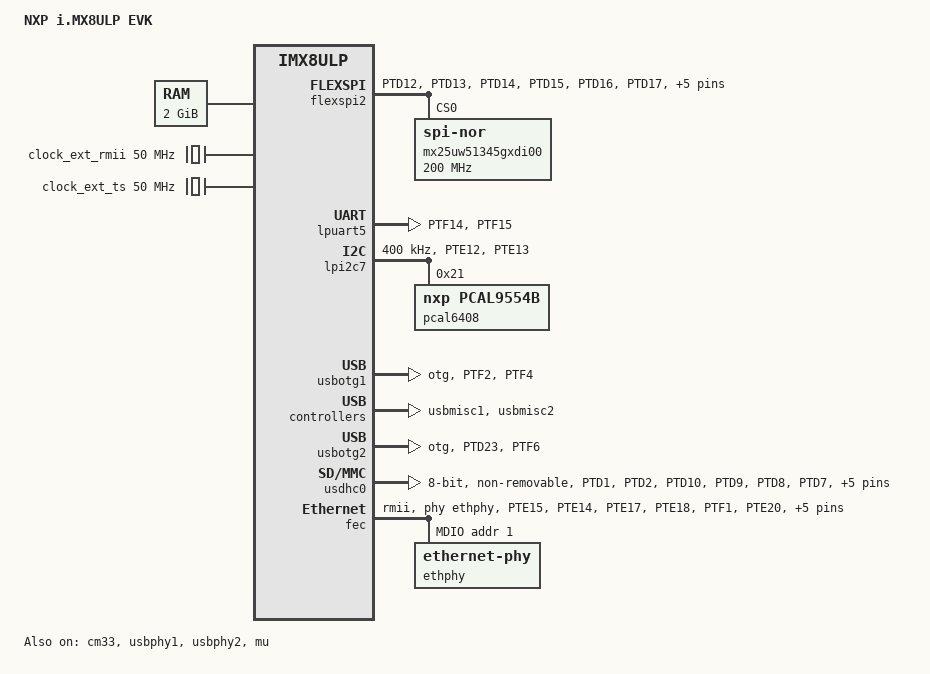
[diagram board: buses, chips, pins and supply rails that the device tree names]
// SPDX-License-Identifier: (GPL-2.0+ OR MIT)
/*
 * Copyright 2021 NXP
 */

/dts-v1/;

#include "imx8ulp.dtsi"

/ {
	model = "NXP i.MX8ULP EVK";
	compatible = "fsl,imx8ulp-evk", "fsl,imx8ulp";

	chosen {
		stdout-path = &lpuart5;
	};

	memory@80000000 {
		device_type = "memory";
		reg = <0x0 0x80000000 0 0x80000000>;
	};

	reserved-memory {
		#address-cells = <2>;
		#size-cells = <2>;
		ranges;

		linux,cma {
			compatible = "shared-dma-pool";
			reusable;
			size = <0 0x28000000>;
			linux,cma-default;
		};

		m33_reserved: noncacheable-section@a8600000 {
			reg = <0 0xa8600000 0 0x1000000>;
			no-map;
		};

		rsc_table: rsc-table@1fff8000 {
			reg = <0 0x1fff8000 0 0x1000>;
			no-map;
		};

		vdev0vring0: vdev0vring0@aff00000 {
			reg = <0 0xaff00000 0 0x8000>;
			no-map;
		};

		vdev0vring1: vdev0vring1@aff08000 {
			reg = <0 0xaff08000 0 0x8000>;
			no-map;
		};

		vdev1vring0: vdev1vring0@aff10000 {
			reg = <0 0xaff10000 0 0x8000>;
			no-map;
		};

		vdev1vring1: vdev1vring1@aff18000 {
			reg = <0 0xaff18000 0 0x8000>;
			no-map;
		};

		vdevbuffer: vdevbuffer@a8400000 {
			compatible = "shared-dma-pool";
			reg = <0 0xa8400000 0 0x100000>;
			no-map;
		};
	};

	clock_ext_rmii: clock-ext-rmii {
		compatible = "fixed-clock";
		clock-frequency = <50000000>;
		clock-output-names = "ext_rmii_clk";
		#clock-cells = <0>;
	};

	clock_ext_ts: clock-ext-ts {
		compatible = "fixed-clock";
		/* External ts clock is 50MHZ from PHY on EVK board. */
		clock-frequency = <50000000>;
		clock-output-names = "ext_ts_clk";
		#clock-cells = <0>;
	};
};

&cm33 {
	mbox-names = "tx", "rx", "rxdb";
	mboxes = <&mu 0 1>,
		 <&mu 1 1>,
		 <&mu 3 1>;
	memory-region = <&vdevbuffer>, <&vdev0vring0>, <&vdev0vring1>,
			<&vdev1vring0>, <&vdev1vring1>, <&rsc_table>;
	status = "okay";
};

&flexspi2 {
	pinctrl-names = "default", "sleep";
	pinctrl-0 = <&pinctrl_flexspi2_ptd>;
	pinctrl-1 = <&pinctrl_flexspi2_ptd>;
	status = "okay";

	mx25uw51345gxdi00: flash@0 {
		compatible = "jedec,spi-nor";
		reg = <0>;
		spi-max-frequency = <200000000>;
		spi-tx-bus-width = <8>;
		spi-rx-bus-width = <8>;
	};
};

&lpuart5 {
	/* console */
	pinctrl-names = "default", "sleep";
	pinctrl-0 = <&pinctrl_lpuart5>;
	pinctrl-1 = <&pinctrl_lpuart5>;
	status = "okay";
};

&lpi2c7 {
	#address-cells = <1>;
	#size-cells = <0>;
	clock-frequency = <400000>;
	pinctrl-names = "default", "sleep";
	pinctrl-0 = <&pinctrl_lpi2c7>;
	pinctrl-1 = <&pinctrl_lpi2c7>;
	status = "okay";

	ptn5150_1: typec@1d {
		compatible = "nxp,ptn5150";
		reg = <0x1d>;
		int-gpios = <&gpiof 3 IRQ_TYPE_EDGE_FALLING>;
		pinctrl-names = "default";
		pinctrl-0 = <&pinctrl_typec1>;
		status = "disabled";
	};

	pcal6408: gpio@21 {
		compatible = "nxp,pcal9554b";
		reg = <0x21>;
		gpio-controller;
		#gpio-cells = <2>;
	};

	ptn5150_2: typec@3d {
		compatible = "nxp,ptn5150";
		reg = <0x3d>;
		int-gpios = <&gpiof 5 IRQ_TYPE_EDGE_FALLING>;
		pinctrl-names = "default";
		pinctrl-0 = <&pinctrl_typec2>;
		status = "disabled";
	};
};

&usbotg1 {
	pinctrl-names = "default";
	pinctrl-0 = <&pinctrl_usb1>;
	dr_mode = "otg";
	hnp-disable;
	srp-disable;
	adp-disable;
	over-current-active-low;
	status = "okay";
};

&usbphy1 {
	fsl,tx-d-cal = <110>;
	status = "okay";
};

&usbmisc1 {
	status = "okay";
};

&usbotg2 {
	pinctrl-names = "default";
	pinctrl-0 = <&pinctrl_usb2>;
	dr_mode = "otg";
	hnp-disable;
	srp-disable;
	adp-disable;
	over-current-active-low;
	status = "okay";
};

&usbphy2 {
	fsl,tx-d-cal = <110>;
	status = "okay";
};

&usbmisc2 {
	status = "okay";
};

&usdhc0 {
	pinctrl-names = "default", "state_100mhz", "state_200mhz", "sleep";
	pinctrl-0 = <&pinctrl_usdhc0>;
	pinctrl-1 = <&pinctrl_usdhc0>;
	pinctrl-2 = <&pinctrl_usdhc0>;
	pinctrl-3 = <&pinctrl_usdhc0>;
	non-removable;
	bus-width = <8>;
	status = "okay";
};

&fec {
	pinctrl-names = "default", "sleep";
	pinctrl-0 = <&pinctrl_enet>;
	pinctrl-1 = <&pinctrl_enet>;
	clocks = <&cgc1 IMX8ULP_CLK_XBAR_DIVBUS>,
		 <&pcc4 IMX8ULP_CLK_ENET>,
		 <&cgc1 IMX8ULP_CLK_ENET_TS_SEL>,
		 <&clock_ext_rmii>;
	clock-names = "ipg", "ahb", "ptp", "enet_clk_ref";
	assigned-clocks = <&cgc1 IMX8ULP_CLK_ENET_TS_SEL>;
	assigned-clock-parents = <&clock_ext_ts>;
	phy-mode = "rmii";
	phy-handle = <&ethphy>;
	status = "okay";

	mdio {
		#address-cells = <1>;
		#size-cells = <0>;

		ethphy: ethernet-phy@1 {
			reg = <1>;
			micrel,led-mode = <1>;
		};
	};
};

&mu {
	status = "okay";
};

&iomuxc1 {
	pinctrl_enet: enetgrp {
		fsl,pins = <
			MX8ULP_PAD_PTE15__ENET0_MDC     0x43
			MX8ULP_PAD_PTE14__ENET0_MDIO    0x43
			MX8ULP_PAD_PTE17__ENET0_RXER    0x43
			MX8ULP_PAD_PTE18__ENET0_CRS_DV  0x43
			MX8ULP_PAD_PTF1__ENET0_RXD0     0x43
			MX8ULP_PAD_PTE20__ENET0_RXD1    0x43
			MX8ULP_PAD_PTE16__ENET0_TXEN    0x43
			MX8ULP_PAD_PTE23__ENET0_TXD0    0x43
			MX8ULP_PAD_PTE22__ENET0_TXD1    0x43
			MX8ULP_PAD_PTE19__ENET0_REFCLK  0x43
			MX8ULP_PAD_PTF10__ENET0_1588_CLKIN 0x43
		>;
	};

	pinctrl_flexspi2_ptd: flexspi2ptdgrp {
		fsl,pins = <

			MX8ULP_PAD_PTD12__FLEXSPI2_A_SS0_B	0x42
			MX8ULP_PAD_PTD13__FLEXSPI2_A_SCLK	0x42
			MX8ULP_PAD_PTD14__FLEXSPI2_A_DATA3	0x42
			MX8ULP_PAD_PTD15__FLEXSPI2_A_DATA2	0x42
			MX8ULP_PAD_PTD16__FLEXSPI2_A_DATA1	0x42
			MX8ULP_PAD_PTD17__FLEXSPI2_A_DATA0	0x42
			MX8ULP_PAD_PTD18__FLEXSPI2_A_DQS	0x42
			MX8ULP_PAD_PTD19__FLEXSPI2_A_DATA7	0x42
			MX8ULP_PAD_PTD20__FLEXSPI2_A_DATA6	0x42
			MX8ULP_PAD_PTD21__FLEXSPI2_A_DATA5	0x42
			MX8ULP_PAD_PTD22__FLEXSPI2_A_DATA4	0x42
		>;
	};

	pinctrl_lpuart5: lpuart5grp {
		fsl,pins = <
			MX8ULP_PAD_PTF14__LPUART5_TX	0x3
			MX8ULP_PAD_PTF15__LPUART5_RX	0x3
		>;
	};

	pinctrl_lpi2c7: lpi2c7grp {
		fsl,pins = <
			MX8ULP_PAD_PTE12__LPI2C7_SCL	0x20
			MX8ULP_PAD_PTE13__LPI2C7_SDA	0x20
		>;
	};

	pinctrl_typec1: typec1grp {
		fsl,pins = <
			MX8ULP_PAD_PTF3__PTF3           0x3
		>;
	};

	pinctrl_typec2: typec2grp {
		fsl,pins = <
			MX8ULP_PAD_PTF5__PTF5           0x3
		>;
	};

	pinctrl_usb1: usb1grp {
		fsl,pins = <
			MX8ULP_PAD_PTF2__USB0_ID	0x10003
			MX8ULP_PAD_PTF4__USB0_OC	0x10003
		>;
	};

	pinctrl_usb2: usb2grp {
		fsl,pins = <
			MX8ULP_PAD_PTD23__USB1_ID	0x10003
			MX8ULP_PAD_PTF6__USB1_OC	0x10003
		>;
	};

	pinctrl_usdhc0: usdhc0grp {
		fsl,pins = <
			MX8ULP_PAD_PTD1__SDHC0_CMD	0x3
			MX8ULP_PAD_PTD2__SDHC0_CLK	0x10002
			MX8ULP_PAD_PTD10__SDHC0_D0	0x3
			MX8ULP_PAD_PTD9__SDHC0_D1	0x3
			MX8ULP_PAD_PTD8__SDHC0_D2	0x3
			MX8ULP_PAD_PTD7__SDHC0_D3	0x3
			MX8ULP_PAD_PTD6__SDHC0_D4	0x3
			MX8ULP_PAD_PTD5__SDHC0_D5	0x3
			MX8ULP_PAD_PTD4__SDHC0_D6	0x3
			MX8ULP_PAD_PTD3__SDHC0_D7	0x3
			MX8ULP_PAD_PTD11__SDHC0_DQS	0x10002
		>;
	};
};
